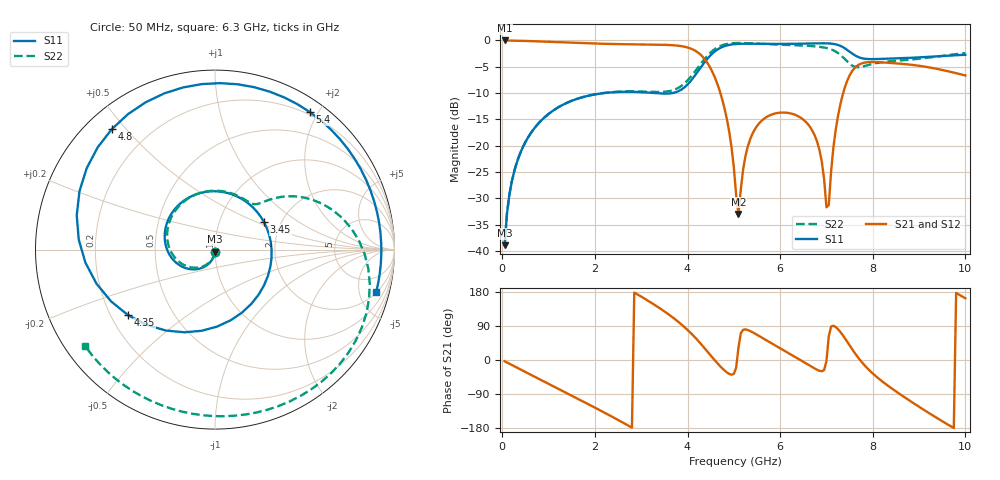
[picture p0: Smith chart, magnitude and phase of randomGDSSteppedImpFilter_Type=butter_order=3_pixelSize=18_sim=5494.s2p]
! freq	dB(S11)	phase(S11)	dB(S12)	phase(S12)
!  dB(S21)	phase(S21)	dB(S22)	phase(S22)
!S-par simulation data
#  GHz  S  DB  R 50
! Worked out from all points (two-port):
!   200 points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, 50 MHz to 10 GHz, reference 50 ohm
!   highest |S21| = 0.00 dB at 50 MHz (marker M1); lowest = -33.0 dB at 5.1 GHz (marker M2)
!   |S21| within 3 dB of the highest: start of sweep to 4.316 GHz
!   lowest |S11| = -38.9 dB at 50 MHz (marker M3), VSWR 1.02, Z = 49.9 - j1.14 ohm
!   |S11| at or under -10 dB: start of sweep to 2.187 GHz; 3.291 GHz to 3.666 GHz (375.2 MHz wide, 10.8 % of centre)
!   |S22| runs from -39.1 to -0.5 dB; largest |S21 - S12| = 0
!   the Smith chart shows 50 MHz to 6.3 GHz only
!   S11 on the Smith chart (normalised r, x): 50 MHz: 1.00, -0.02; 3.45 GHz: 1.63, +0.56; 4.35 GHz: 0.27, -0.31; 4.8 GHz: 0.07, +0.46; 5.4 GHz: 0.16, +1.89; 6.3 GHz: 2.04, -7.08
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0.05  -38.87 -92.0  -0.00 -3.2  -0.00 -3.2  -39.06 -91.2
0.2  -27.00 -102.0  -0.03 -12.8  -0.03 -12.8  -27.00 -103.3
0.5  -19.29 -120.5  -0.09 -31.7  -0.09 -31.7  -19.29 -123.7
1.75  -10.73 164.7  -0.52 -109.9  -0.52 -109.9  -10.73 154.1
2.65  -9.74 105.8  -0.72 -168.3  -0.72 -168.3  -9.69 96.6
3.4  -10.07 35.8  -0.81 136.6  -0.81 136.6  -9.78 57.1
3.45  -10.09 29.4  -0.82 132.5  -0.82 132.5  -9.77 55.2
3.95  -8.78 -56.2  -1.22 85.0  -1.22 85.0  -8.02 43.4
4.35  -4.35 -142.9  -3.33 33.8  -3.33 33.8  -3.72 23.0
4.8  -1.07 130.6  -12.95 -27.7  -12.95 -27.7  -0.77 -22.9
5.05  -0.68 94.5  -29.41 -20.4  -29.41 -20.4  -0.49 -46.9
5.1  -0.65 88.2  -32.97 33.0  -32.97 33.0  -0.49 -51.3
5.4  -0.62 55.5  -17.76 73.5  -17.76 73.5  -0.57 -75.6
6.3  -0.64 -14.9  -14.05 9.7  -14.05 9.7  -0.90 -143.3
6.7  -0.57 -40.3  -17.20 -19.2  -17.20 -19.2  -1.08 179.0
7.05  -0.57 -62.9  -31.24 62.6  -31.24 62.6  -1.56 129.7
7.3  -1.03 -80.6  -12.13 74.0  -12.13 74.0  -2.74 70.9
7.5  -2.13 -92.5  -6.64 38.7  -6.64 38.7  -4.42 1.5
7.8  -3.44 -99.4  -4.26 -11.0  -4.26 -11.0  -4.92 -101.6
8.35  -3.45 -114.3  -4.25 -69.9  -4.25 -69.9  -3.97 156.7
9  -3.22 -138.1  -4.81 -123.5  -4.81 -123.5  -3.48 74.6
10  -2.73 173.7  -6.65 162.9  -6.65 162.9  -2.41 -21.9
